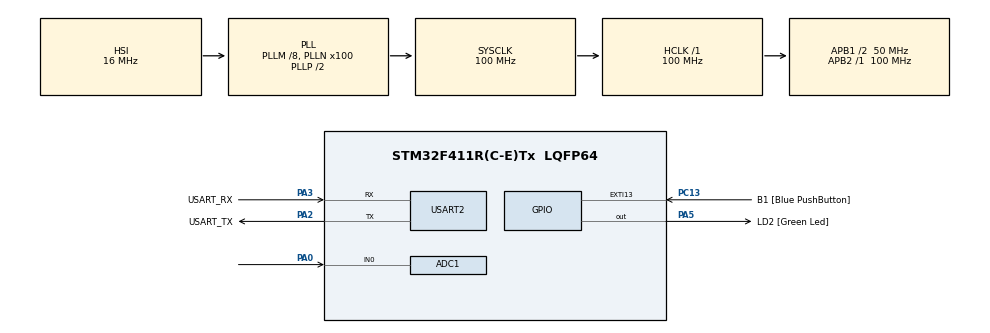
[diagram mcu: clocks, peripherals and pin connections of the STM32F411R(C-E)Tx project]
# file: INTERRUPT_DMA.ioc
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ADC1.Channel-0\#ChannelRegularConversion=ADC_CHANNEL_TEMPSENSOR
ADC1.Channel-1\#ChannelRegularConversion=ADC_CHANNEL_0
ADC1.ContinuousConvMode=ENABLE
ADC1.DMAContinuousRequests=ENABLE
ADC1.NbrOfConversion=2
ADC1.NbrOfConversionFlag=1
ADC1.Rank-0\#ChannelRegularConversion=1
ADC1.Rank-1\#ChannelRegularConversion=2
ADC1.SamplingTime-0\#ChannelRegularConversion=ADC_SAMPLETIME_56CYCLES
ADC1.SamplingTime-1\#ChannelRegularConversion=ADC_SAMPLETIME_56CYCLES
ADC1.master=1
Dma.ADC1.0.Direction=DMA_PERIPH_TO_MEMORY
Dma.ADC1.0.FIFOMode=DMA_FIFOMODE_DISABLE
Dma.ADC1.0.Instance=DMA2_Stream0
Dma.ADC1.0.MemDataAlignment=DMA_MDATAALIGN_HALFWORD
Dma.ADC1.0.MemInc=DMA_MINC_ENABLE
Dma.ADC1.0.Mode=DMA_CIRCULAR
Dma.ADC1.0.PeriphDataAlignment=DMA_PDATAALIGN_HALFWORD
Dma.ADC1.0.PeriphInc=DMA_PINC_DISABLE
Dma.ADC1.0.Priority=DMA_PRIORITY_LOW
Dma.Request0=ADC1
Mcu.Family=STM32F4
Mcu.Name=STM32F411R(C-E)Tx
Mcu.Package=LQFP64
NVIC.ADC_IRQn=true\:0\:0\:false\:false\:true\:true\:true\:true
NVIC.DMA2_Stream0_IRQn=true\:0\:0\:false\:false\:true\:false\:true\:true
NVIC.EXTI15_10_IRQn=true\:0\:0\:false\:false\:true\:true\:true\:true
NVIC.PriorityGroup=NVIC_PRIORITYGROUP_0
PA0-WKUP.Signal=ADCx_IN0
PA13.GPIO_Label=TMS
PA13.Mode=Serial_Wire
PA13.Signal=SYS_JTMS-SWDIO
PA14.GPIO_Label=TCK
PA14.Mode=Serial_Wire
PA14.Signal=SYS_JTCK-SWCLK
PA2.GPIO_Label=USART_TX
PA2.Mode=Asynchronous
PA2.Signal=USART2_TX
PA3.GPIO_Label=USART_RX
PA3.Mode=Asynchronous
PA3.Signal=USART2_RX
PA5.GPIO_Label=LD2 [Green Led]
PA5.Signal=GPIO_Output
PB3.GPIO_Label=SWO
PB3.Signal=SYS_JTDO-SWO
PC13-ANTI_TAMP.GPIO_Label=B1 [Blue PushButton]
PC13-ANTI_TAMP.GPIO_ModeDefaultEXTI=GPIO_MODE_IT_FALLING
PC13-ANTI_TAMP.Signal=GPXTI13
PC14-OSC32_IN.Mode=LSE-External-Oscillator
PC14-OSC32_IN.Signal=RCC_OSC32_IN
PC15-OSC32_OUT.Mode=LSE-External-Oscillator
PC15-OSC32_OUT.Signal=RCC_OSC32_OUT
PH0\ -\ OSC_IN.Mode=HSE-External-Clock-Source
PH0\ -\ OSC_IN.Signal=RCC_OSC_IN
PH1\ -\ OSC_OUT.Mode=HSE-External-Clock-Source
PH1\ -\ OSC_OUT.Signal=RCC_OSC_OUT
ProjectManager.HeapSize=0x200
ProjectManager.StackSize=0x400
ProjectManager.TargetToolchain=STM32CubeIDE
RCC.48MHZClocksFreq_Value=50000000
RCC.AHBFreq_Value=100000000
RCC.APB1CLKDivider=RCC_HCLK_DIV2
RCC.APB1Freq_Value=50000000
RCC.APB1TimFreq_Value=100000000
RCC.APB2Freq_Value=100000000
RCC.APB2TimFreq_Value=100000000
RCC.CortexFreq_Value=100000000
RCC.FLatency-AdvancedSettings=FLASH_LATENCY_3
RCC.HCLKFreq_Value=100000000
RCC.HSE_VALUE=8000000
RCC.HSI_VALUE=16000000
RCC.PLLM=8
RCC.PLLN=100
RCC.SYSCLKFreq_VALUE=100000000
RCC.SYSCLKSource=RCC_SYSCLKSOURCE_PLLCLK
RCC.VCOOutputFreq_Value=200000000
SH.ADCx_IN0.0=ADC1_IN0,IN0
USART2.VirtualMode=VM_ASYNC
VP_ADC1_TempSens_Input.Mode=IN-TempSens
board=NUCLEO-F411RE

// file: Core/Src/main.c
/* USER CODE BEGIN Header */
/**
  ******************************************************************************
  * @file           : main.c
  * @brief          : Main program body
  ******************************************************************************
  * @attention
  *
  * Copyright (c) 2023 STMicroelectronics.
  * All rights reserved.
  *
  * This software is licensed under terms that can be found in the LICENSE file
  * in the root directory of this software component.
  * If no LICENSE file comes with this software, it is provided AS-IS.
  *
  ******************************************************************************
  */
/* USER CODE END Header */
#include "main.h"

ADC_HandleTypeDef hadc1;
DMA_HandleTypeDef hdma_adc1;

UART_HandleTypeDef huart2;

/* USER CODE BEGIN PV */
uint16_t adcRawData[20];
float Temp;
float Voltage;
float TempRaw;
float VoltageRaw;
/* USER CODE END PV */

void SystemClock_Config(void);
static void MX_GPIO_Init(void);
static void MX_DMA_Init(void);
static void MX_USART2_UART_Init(void);
static void MX_ADC1_Init(void);

int main(void)
{

  /* MCU Configuration--------------------------------------------------------*/

  /* Reset of all peripherals, Initializes the Flash interface and the Systick. */
  HAL_Init();

  /* Configure the system clock */
  SystemClock_Config();

  /* Initialize all configured peripherals */
  MX_GPIO_Init();
  MX_DMA_Init();
  MX_USART2_UART_Init();
  MX_ADC1_Init();
  /* USER CODE BEGIN 2 */
  HAL_ADC_Start_DMA(&hadc1, adcRawData , 20);
  /* USER CODE END 2 */

  /* Infinite loop */
  /* USER CODE BEGIN WHILE */
  while (1)
  {
	  static uint32_t timestamp = 0;
	  register i;
	  	  if(HAL_GetTick() >= timestamp)
	  	  {
	  		timestamp = HAL_GetTick() + 1000;
	  		TempRaw = 0;
	  		VoltageRaw = 0;
	  		for (i=0 ; i < 20 ; i++)
	  		{
	  			if((i%2) == 0)
	  			{
	  				TempRaw += ((((adcRawData[i]/4095.0000)*3.3000) - 0.7600)/0.0025) + 25.0000;
	  			}
	  			else if((i%2) == 1)
	  			{
	  				VoltageRaw += (adcRawData[i]/(2.5/3.3*4095.0))*5.0;
	  			}
	  		}
	  		Temp = TempRaw /10 + 273;
	  		Voltage = (VoltageRaw /10)*1000 ;
	  	  }
}
    /* USER CODE END WHILE */

}

void SystemClock_Config(void)
{
  RCC_OscInitTypeDef RCC_OscInitStruct = {0};
  RCC_ClkInitTypeDef RCC_ClkInitStruct = {0};

  /** Configure the main internal regulator output voltage
  */
  __HAL_RCC_PWR_CLK_ENABLE();
  __HAL_PWR_VOLTAGESCALING_CONFIG(PWR_REGULATOR_VOLTAGE_SCALE1);

  /** Initializes the RCC Oscillators according to the specified parameters
  * in the RCC_OscInitTypeDef structure.
  */
  RCC_OscInitStruct.OscillatorType = RCC_OSCILLATORTYPE_HSI;
  RCC_OscInitStruct.HSIState = RCC_HSI_ON;
  RCC_OscInitStruct.HSICalibrationValue = RCC_HSICALIBRATION_DEFAULT;
  RCC_OscInitStruct.PLL.PLLState = RCC_PLL_ON;
  RCC_OscInitStruct.PLL.PLLSource = RCC_PLLSOURCE_HSI;
  RCC_OscInitStruct.PLL.PLLM = 8;
  RCC_OscInitStruct.PLL.PLLN = 100;
  RCC_OscInitStruct.PLL.PLLP = RCC_PLLP_DIV2;
  RCC_OscInitStruct.PLL.PLLQ = 4;
  if (HAL_RCC_OscConfig(&RCC_OscInitStruct) != HAL_OK)
  {
    Error_Handler();
  }

  /** Initializes the CPU, AHB and APB buses clocks
  */
  RCC_ClkInitStruct.ClockType = RCC_CLOCKTYPE_HCLK|RCC_CLOCKTYPE_SYSCLK
                              |RCC_CLOCKTYPE_PCLK1|RCC_CLOCKTYPE_PCLK2;
  RCC_ClkInitStruct.SYSCLKSource = RCC_SYSCLKSOURCE_PLLCLK;
  RCC_ClkInitStruct.AHBCLKDivider = RCC_SYSCLK_DIV1;
  RCC_ClkInitStruct.APB1CLKDivider = RCC_HCLK_DIV2;
  RCC_ClkInitStruct.APB2CLKDivider = RCC_HCLK_DIV1;

  if (HAL_RCC_ClockConfig(&RCC_ClkInitStruct, FLASH_LATENCY_3) != HAL_OK)
  {
    Error_Handler();
  }
}

static void MX_ADC1_Init(void)
{

  ADC_ChannelConfTypeDef sConfig = {0};

  /** Configure the global features of the ADC (Clock, Resolution, Data Alignment and number of conversion)
  */
  hadc1.Instance = ADC1;
  hadc1.Init.ClockPrescaler = ADC_CLOCK_SYNC_PCLK_DIV4;
  hadc1.Init.Resolution = ADC_RESOLUTION_12B;
  hadc1.Init.ScanConvMode = ENABLE;
  hadc1.Init.ContinuousConvMode = ENABLE;
  hadc1.Init.DiscontinuousConvMode = DISABLE;
  hadc1.Init.ExternalTrigConvEdge = ADC_EXTERNALTRIGCONVEDGE_NONE;
  hadc1.Init.ExternalTrigConv = ADC_SOFTWARE_START;
  hadc1.Init.DataAlign = ADC_DATAALIGN_RIGHT;
  hadc1.Init.NbrOfConversion = 2;
  hadc1.Init.DMAContinuousRequests = ENABLE;
  hadc1.Init.EOCSelection = ADC_EOC_SINGLE_CONV;
  if (HAL_ADC_Init(&hadc1) != HAL_OK)
  {
    Error_Handler();
  }

  /** Configure for the selected ADC regular channel its corresponding rank in the sequencer and its sample time.
  */
  sConfig.Channel = ADC_CHANNEL_TEMPSENSOR;
  sConfig.Rank = 1;
  sConfig.SamplingTime = ADC_SAMPLETIME_56CYCLES;
  if (HAL_ADC_ConfigChannel(&hadc1, &sConfig) != HAL_OK)
  {
    Error_Handler();
  }

  /** Configure for the selected ADC regular channel its corresponding rank in the sequencer and its sample time.
  */
  sConfig.Channel = ADC_CHANNEL_0;
  sConfig.Rank = 2;
  if (HAL_ADC_ConfigChannel(&hadc1, &sConfig) != HAL_OK)
  {
    Error_Handler();
  }

}

static void MX_USART2_UART_Init(void)
{

  huart2.Instance = USART2;
  huart2.Init.BaudRate = 115200;
  huart2.Init.WordLength = UART_WORDLENGTH_8B;
  huart2.Init.StopBits = UART_STOPBITS_1;
  huart2.Init.Parity = UART_PARITY_NONE;
  huart2.Init.Mode = UART_MODE_TX_RX;
  huart2.Init.HwFlowCtl = UART_HWCONTROL_NONE;
  huart2.Init.OverSampling = UART_OVERSAMPLING_16;
  if (HAL_UART_Init(&huart2) != HAL_OK)
  {
    Error_Handler();
  }

}

static void MX_DMA_Init(void)
{

  /* DMA controller clock enable */
  __HAL_RCC_DMA2_CLK_ENABLE();

  /* DMA interrupt init */
  /* DMA2_Stream0_IRQn interrupt configuration */
  HAL_NVIC_SetPriority(DMA2_Stream0_IRQn, 0, 0);
  HAL_NVIC_EnableIRQ(DMA2_Stream0_IRQn);

}

static void MX_GPIO_Init(void)
{
  GPIO_InitTypeDef GPIO_InitStruct = {0};

  /* GPIO Ports Clock Enable */
  __HAL_RCC_GPIOC_CLK_ENABLE();
  __HAL_RCC_GPIOH_CLK_ENABLE();
  __HAL_RCC_GPIOA_CLK_ENABLE();
  __HAL_RCC_GPIOB_CLK_ENABLE();

  /*Configure GPIO pin Output Level */
  HAL_GPIO_WritePin(LD2_GPIO_Port, LD2_Pin, GPIO_PIN_RESET);

  /*Configure GPIO pin : B1_Pin */
  GPIO_InitStruct.Pin = B1_Pin;
  GPIO_InitStruct.Mode = GPIO_MODE_IT_FALLING;
  GPIO_InitStruct.Pull = GPIO_NOPULL;
  HAL_GPIO_Init(B1_GPIO_Port, &GPIO_InitStruct);

  /*Configure GPIO pin : LD2_Pin */
  GPIO_InitStruct.Pin = LD2_Pin;
  GPIO_InitStruct.Mode = GPIO_MODE_OUTPUT_PP;
  GPIO_InitStruct.Pull = GPIO_NOPULL;
  GPIO_InitStruct.Speed = GPIO_SPEED_FREQ_LOW;
  HAL_GPIO_Init(LD2_GPIO_Port, &GPIO_InitStruct);

  /* EXTI interrupt init*/
  HAL_NVIC_SetPriority(EXTI15_10_IRQn, 0, 0);
  HAL_NVIC_EnableIRQ(EXTI15_10_IRQn);

}

/* USER CODE BEGIN 4 */
//void HAL_GPIO_EXTI_Callback(uint16_t GPIO_Pin)
//{
//	if(GPIO_Pin == GPIO_PIN_13)
//	{
//		HAL_ADC_Start_DMA(&hadc1, adcRawData , 20);
//	}
//}
//void HAL_ADC_ConvCpltCallback(ADC_HandleTypeDef* hadc)
//{
//	adcRawData =  HAL_ADC_GetValue(&hadc1);
//}
/* USER CODE END 4 */

void Error_Handler(void)
{
  __disable_irq();
  while (1)
  {
  }
}
